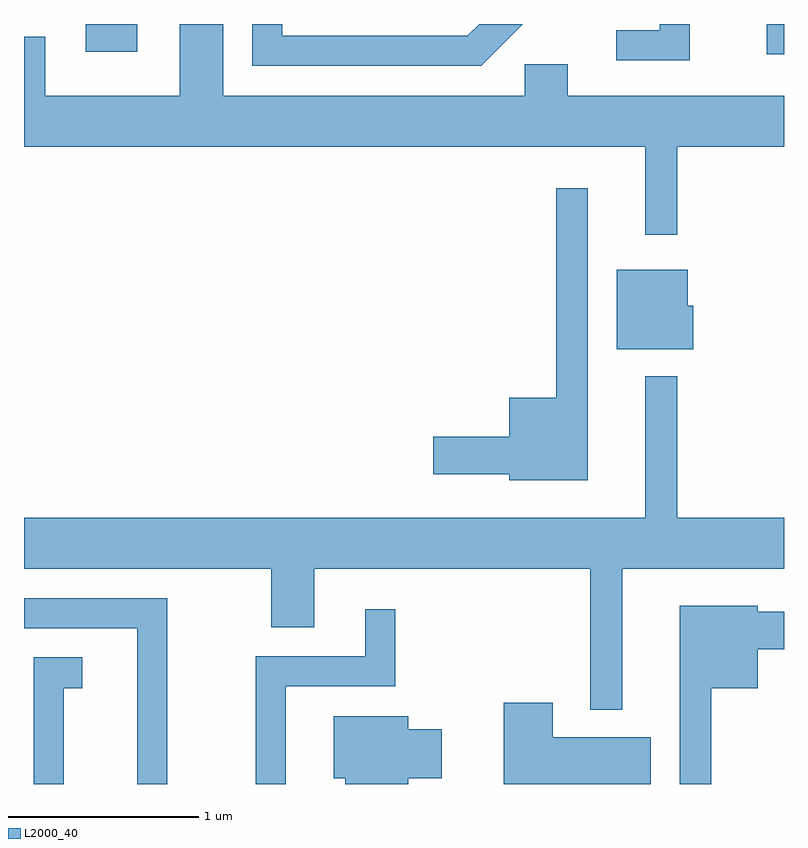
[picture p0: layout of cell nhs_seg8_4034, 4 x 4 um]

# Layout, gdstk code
import gdstk
lib = gdstk.Library(unit=1e-6, precision=1e-09)
def R(c, l, rs):  # rectangles x0, y0, x1, y1
    for r in rs: c.add(gdstk.rectangle(r[:2], r[2:], *l))
def P(c, l, *ps):  # polygons
    for p in ps: c.add(gdstk.Polygon(p, *l))
L2000_40 = (2000, 40)

nhs_seg8_4034 = lib.new_cell('nhs_seg8_4034')
R(nhs_seg8_4034, L2000_40, [(309.521,1890.183,309.611,1890.342), (305.936,1890.196,306.208,1890.342)])
P(nhs_seg8_4034, L2000_40, [(309.049,1889.696),(309.611,1889.696),(309.611,1889.964),(308.474,1889.964),(308.474,1890.129),(308.246,1890.129),(308.246,1889.964),(306.659,1889.964),(306.659,1890.342),(306.431,1890.342),(306.431,1889.964),(305.724,1889.964),(305.724,1890.274),(305.611,1890.274),(305.611,1889.696),(308.881,1889.696),(308.881,1889.233),(309.049,1889.233)],
  [(308.237,1890.342),(308.007,1890.342),(307.944,1890.279),(306.969,1890.279),(306.969,1890.342),(306.811,1890.342),(306.811,1890.121),(308.017,1890.121)],
  [(309.114,1890.342),(308.956,1890.342),(308.956,1890.309),(308.728,1890.309),(308.728,1890.151),(309.114,1890.151)],
  [(308.579,1889.478),(308.411,1889.478),(308.411,1888.374),(308.166,1888.374),(308.166,1888.169),(307.766,1888.169),(307.766,1887.971),(308.166,1887.971),(308.166,1887.941),(308.579,1887.941)],
  [(309.134,1888.859),(309.104,1888.859),(309.104,1889.049),(308.731,1889.049),(308.731,1888.631),(309.134,1888.631)],
  [(308.759,1887.476),(309.611,1887.476),(309.611,1887.744),(309.049,1887.744),(309.049,1888.488),(308.881,1888.488),(308.881,1887.744),(305.611,1887.744),(305.611,1887.476),(306.911,1887.476),(306.911,1887.166),(307.139,1887.166),(307.139,1887.476),(308.591,1887.476),(308.591,1886.733),(308.759,1886.733)],
  [(306.364,1887.319),(305.611,1887.319),(305.611,1887.161),(306.206,1887.161),(306.206,1886.342),(306.364,1886.342)],
  [(309.229,1886.846),(309.474,1886.846),(309.474,1887.051),(309.611,1887.051),(309.611,1887.249),(309.474,1887.249),(309.474,1887.279),(309.061,1887.279),(309.061,1886.342),(309.229,1886.342)],
  [(306.989,1886.856),(307.564,1886.856),(307.564,1887.263),(307.406,1887.263),(307.406,1887.014),(306.831,1887.014),(306.831,1886.342),(306.989,1886.342)],
  [(305.819,1886.846),(305.918,1886.846),(305.918,1887.009),(305.661,1887.009),(305.661,1886.342),(305.819,1886.342)],
  [(308.909,1886.589),(308.394,1886.589),(308.394,1886.769),(308.136,1886.769),(308.136,1886.342),(308.909,1886.342)],
  [(307.634,1886.371),(307.809,1886.371),(307.809,1886.629),(307.634,1886.629),(307.634,1886.699),(307.241,1886.699),(307.241,1886.371),(307.301,1886.371),(307.301,1886.342),(307.634,1886.342)])

lib.write_gds('nhs_seg8_4034.gds')
